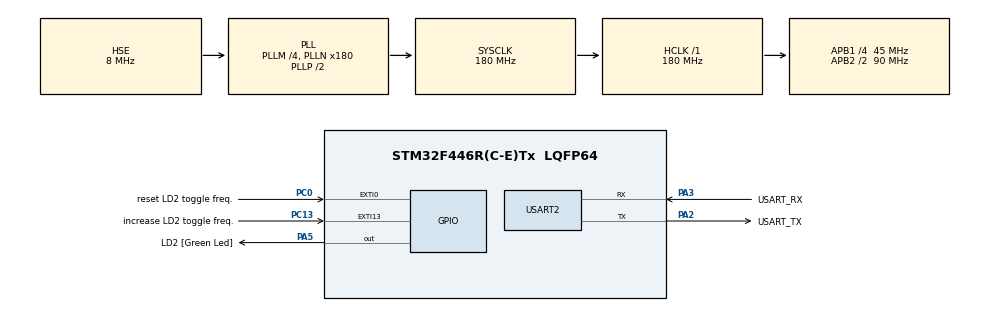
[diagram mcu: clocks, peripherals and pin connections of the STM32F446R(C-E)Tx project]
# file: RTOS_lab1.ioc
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FREERTOS.INCLUDE_vTaskDelayUntil=1
FREERTOS.Tasks01=defaultTask,0,128,StartDefaultTask,Default,NULL,Dynamic,NULL,NULL
FREERTOS.configENABLE_FPU=1
FREERTOS.configUSE_NEWLIB_REENTRANT=1
Mcu.Family=STM32F4
Mcu.Name=STM32F446R(C-E)Tx
Mcu.Package=LQFP64
NVIC.EXTI0_IRQn=true\:5\:0\:false\:false\:true\:true\:true\:true\:true
NVIC.EXTI15_10_IRQn=true\:5\:0\:false\:false\:true\:true\:true\:true\:true
NVIC.PriorityGroup=NVIC_PRIORITYGROUP_4
NVIC.TIM1_UP_TIM10_IRQn=true\:15\:0\:false\:false\:true\:false\:false\:true\:true
NVIC.TimeBase=TIM1_UP_TIM10_IRQn
NVIC.TimeBaseIP=TIM10
PA13.GPIO_Label=TMS
PA13.Mode=Serial_Wire
PA13.Signal=SYS_JTMS-SWDIO
PA14.GPIO_Label=TCK
PA14.Mode=Serial_Wire
PA14.Signal=SYS_JTCK-SWCLK
PA2.GPIO_Label=USART_TX
PA2.Mode=Asynchronous
PA2.Signal=USART2_TX
PA3.GPIO_Label=USART_RX
PA3.Mode=Asynchronous
PA3.Signal=USART2_RX
PA5.GPIO_Label=LD2 [Green Led]
PA5.Signal=GPIO_Output
PB3.GPIO_Label=SWO
PB3.Signal=SYS_JTDO-SWO
PC0.GPIO_Label=reset LD2 toggle freq.
PC0.GPIO_ModeDefaultEXTI=GPIO_MODE_IT_FALLING
PC0.GPIO_PuPd=GPIO_PULLUP
PC0.Signal=GPXTI0
PC13.GPIO_Label=increase LD2 toggle freq.
PC13.Signal=GPXTI13
PC14-OSC32_IN.Mode=LSE-External-Oscillator
PC14-OSC32_IN.Signal=RCC_OSC32_IN
PC15-OSC32_OUT.Mode=LSE-External-Oscillator
PC15-OSC32_OUT.Signal=RCC_OSC32_OUT
PH0-OSC_IN.Mode=HSE-External-Oscillator
PH0-OSC_IN.Signal=RCC_OSC_IN
PH1-OSC_OUT.Mode=HSE-External-Oscillator
PH1-OSC_OUT.Signal=RCC_OSC_OUT
ProjectManager.HeapSize=0x200
ProjectManager.StackSize=0x400
ProjectManager.TargetToolchain=STM32CubeIDE
RCC.48MHZClocksFreq_Value=84000000
RCC.AHBFreq_Value=180000000
RCC.APB1CLKDivider=RCC_HCLK_DIV4
RCC.APB1Freq_Value=45000000
RCC.APB1TimFreq_Value=90000000
RCC.APB2CLKDivider=RCC_HCLK_DIV2
RCC.APB2Freq_Value=90000000
RCC.APB2TimFreq_Value=180000000
RCC.CortexFreq_Value=180000000
RCC.FLatency-AdvancedSettings=FLASH_LATENCY_5
RCC.HCLKFreq_Value=180000000
RCC.HSE_VALUE=8000000
RCC.HSI_VALUE=16000000
RCC.PLLM=4
RCC.PLLN=180
RCC.PLLSourceVirtual=RCC_PLLSOURCE_HSE
RCC.SYSCLKFreq_VALUE=180000000
RCC.SYSCLKSource=RCC_SYSCLKSOURCE_PLLCLK
RCC.USBFreq_Value=180000000
RCC.VCOOutputFreq_Value=360000000
USART2.VirtualMode=VM_ASYNC
VP_FREERTOS_VS_CMSIS_V1.Mode=CMSIS_V1
VP_SYS_VS_tim10.Mode=TIM10
board=NUCLEO-F446RE

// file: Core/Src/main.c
/* USER CODE BEGIN Header */
/**
  ******************************************************************************
  * @file           : main.c
  * @brief          : Main program body
  ******************************************************************************
  * @attention
  *
  * Copyright (c) 2023 STMicroelectronics.
  * All rights reserved.
  *
  * This software is licensed under terms that can be found in the LICENSE file
  * in the root directory of this software component.
  * If no LICENSE file comes with this software, it is provided AS-IS.
  *
  ******************************************************************************
  */
/* USER CODE END Header */
#include "main.h"
#include "cmsis_os.h"
#include "usart.h"
#include "gpio.h"

/* USER CODE BEGIN PV */
volatile bool button_pressed=false;
volatile bool pin_shortcutted=false;
/* USER CODE END PV */

void SystemClock_Config(void);
void MX_FREERTOS_Init(void);

int main(void)
{

  /* MCU Configuration--------------------------------------------------------*/

  /* Reset of all peripherals, Initializes the Flash interface and the Systick. */
  HAL_Init();

  /* Configure the system clock */
  SystemClock_Config();

  /* Initialize all configured peripherals */
  MX_GPIO_Init();
  MX_USART2_UART_Init();

  /* Call init function for freertos objects (in freertos.c) */
  MX_FREERTOS_Init();

  /* Start scheduler */
  osKernelStart();

  /* We should never get here as control is now taken by the scheduler */
  /* Infinite loop */
  while (1)
  {

  }
}

void SystemClock_Config(void)
{
  RCC_OscInitTypeDef RCC_OscInitStruct = {0};
  RCC_ClkInitTypeDef RCC_ClkInitStruct = {0};

  /** Configure the main internal regulator output voltage
  */
  __HAL_RCC_PWR_CLK_ENABLE();
  __HAL_PWR_VOLTAGESCALING_CONFIG(PWR_REGULATOR_VOLTAGE_SCALE1);

  /** Initializes the RCC Oscillators according to the specified parameters
  * in the RCC_OscInitTypeDef structure.
  */
  RCC_OscInitStruct.OscillatorType = RCC_OSCILLATORTYPE_HSE;
  RCC_OscInitStruct.HSEState = RCC_HSE_ON;
  RCC_OscInitStruct.PLL.PLLState = RCC_PLL_ON;
  RCC_OscInitStruct.PLL.PLLSource = RCC_PLLSOURCE_HSE;
  RCC_OscInitStruct.PLL.PLLM = 4;
  RCC_OscInitStruct.PLL.PLLN = 180;
  RCC_OscInitStruct.PLL.PLLP = RCC_PLLP_DIV2;
  RCC_OscInitStruct.PLL.PLLQ = 2;
  RCC_OscInitStruct.PLL.PLLR = 2;
  if (HAL_RCC_OscConfig(&RCC_OscInitStruct) != HAL_OK)
  {
    Error_Handler();
  }

  /** Activate the Over-Drive mode
  */
  if (HAL_PWREx_EnableOverDrive() != HAL_OK)
  {
    Error_Handler();
  }

  /** Initializes the CPU, AHB and APB buses clocks
  */
  RCC_ClkInitStruct.ClockType = RCC_CLOCKTYPE_HCLK|RCC_CLOCKTYPE_SYSCLK
                              |RCC_CLOCKTYPE_PCLK1|RCC_CLOCKTYPE_PCLK2;
  RCC_ClkInitStruct.SYSCLKSource = RCC_SYSCLKSOURCE_PLLCLK;
  RCC_ClkInitStruct.AHBCLKDivider = RCC_SYSCLK_DIV1;
  RCC_ClkInitStruct.APB1CLKDivider = RCC_HCLK_DIV4;
  RCC_ClkInitStruct.APB2CLKDivider = RCC_HCLK_DIV2;

  if (HAL_RCC_ClockConfig(&RCC_ClkInitStruct, FLASH_LATENCY_5) != HAL_OK)
  {
    Error_Handler();
  }
}

void HAL_TIM_PeriodElapsedCallback(TIM_HandleTypeDef *htim)
{
  if (htim->Instance == TIM10) {
    HAL_IncTick();
  }
}

void Error_Handler(void)
{
  __disable_irq();
  while (1)
  {
  }
}

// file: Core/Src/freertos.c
/* USER CODE BEGIN Header */
/**
  ******************************************************************************
  * File Name          : freertos.c
  * Description        : Code for freertos applications
  ******************************************************************************
  * @attention
  *
  * Copyright (c) 2023 STMicroelectronics.
  * All rights reserved.
  *
  * This software is licensed under terms that can be found in the LICENSE file
  * in the root directory of this software component.
  * If no LICENSE file comes with this software, it is provided AS-IS.
  *
  ******************************************************************************
  */
/* USER CODE END Header */

#include "FreeRTOS.h"
#include "task.h"
#include "main.h"
#include "cmsis_os.h"

/* USER CODE BEGIN Variables */

osThreadId defaultTaskHandle;
osThreadId led_blink_varHandle;
osThreadId led_blink_equalHandle;
osThreadId button_pressedHandle;
osThreadId pin_shortcuttedHandle;

int frequency=1;	//Hz
/* USER CODE END Variables */
osThreadId defaultTaskHandle;

/* USER CODE BEGIN FunctionPrototypes */

void StartDefaultTask(void const * argument);
void StartTask0(void const * argument);
void StartTask1(void const * argument);
void StartTask2(void const * argument);
void StartTask3(void const * argument);

/* USER CODE END FunctionPrototypes */

void StartDefaultTask(void const * argument);

void MX_FREERTOS_Init(void); /* (MISRA C 2004 rule 8.1) */

/* GetIdleTaskMemory prototype (linked to static allocation support) */
void vApplicationGetIdleTaskMemory( StaticTask_t **ppxIdleTaskTCBBuffer, StackType_t **ppxIdleTaskStackBuffer, uint32_t *pulIdleTaskStackSize );

/* USER CODE BEGIN GET_IDLE_TASK_MEMORY */
static StaticTask_t xIdleTaskTCBBuffer;
static StackType_t xIdleStack[configMINIMAL_STACK_SIZE];

void vApplicationGetIdleTaskMemory( StaticTask_t **ppxIdleTaskTCBBuffer, StackType_t **ppxIdleTaskStackBuffer, uint32_t *pulIdleTaskStackSize )
{
  *ppxIdleTaskTCBBuffer = &xIdleTaskTCBBuffer;
  *ppxIdleTaskStackBuffer = &xIdleStack[0];
  *pulIdleTaskStackSize = configMINIMAL_STACK_SIZE;
  /* place for user code */
}
/* USER CODE END GET_IDLE_TASK_MEMORY */

void MX_FREERTOS_Init(void) {

  /* Create the thread(s) */
  /* definition and creation of defaultTask */
  osThreadDef(defaultTask, StartDefaultTask, osPriorityNormal, 0, 128);
  defaultTaskHandle = osThreadCreate(osThread(defaultTask), NULL);

  /* USER CODE BEGIN RTOS_THREADS */
	// uncoment tasks for right application

	//app 1-Prepare a simple FreeRTOS application, capable of blinking led light with a frequency equal to 10Hz

	//osThreadDef(led_blink_equal, StartTask0, osPriorityIdle, 0, 128);
	//led_blink_equalHandle = osThreadCreate(osThread(led_blink_equal), NULL);

	//app 2-Prepare an application that has 2 tasks running in parallel

	//task1
	osThreadDef(led_blink_var, StartTask1, osPriorityIdle, 0, 128);
	led_blink_varHandle = osThreadCreate(osThread(led_blink_var), NULL);
	//task2
	osThreadDef(button_pressed, StartTask2, osPriorityIdle, 0, 128);
	button_pressedHandle = osThreadCreate(osThread(button_pressed), NULL);
	//task3
	osThreadDef(pin_shortcutted, StartTask3, osPriorityIdle, 0, 128);
	pin_shortcuttedHandle = osThreadCreate(osThread(pin_shortcutted), NULL);
  /* USER CODE END RTOS_THREADS */

}

void StartDefaultTask(void const * argument)
{
  for(;;)
  {
	  osDelay(1);
  }
}

/* USER CODE BEGIN Application */
void StartTask0(void const * argument)
{
  /* USER CODE BEGIN StartTask0 */
	//Prepare a simple FreeRTOS application, capable of blinking led light with a frequency equal to 10Hz
  /* Infinite loop */
  for(;;)
  {
	  HAL_GPIO_TogglePin(GPIOA,LD2_Pin);
	  osDelay(100);	//100ms-> 0.1 s -> 10Hz
  }
  /* USER CODE END StartTask0 */
}

void StartTask1(void const * argument)
{
  /* USER CODE BEGIN StartTask1 */
	//blinks a LED with the frequency defined as a modifiable parameter with some initial value e.g. 10,
	// frequency in HZ
  /* Infinite loop */
  for(;;)
  {
		HAL_GPIO_TogglePin(GPIOA,LD2_Pin);
	    osDelay(1000/frequency);	//100ms-> 0.1 s -> 10Hz
  }
  /* USER CODE END StartTask1 */
}
void StartTask2(void const * argument)
{
  /* USER CODE BEGIN StartTask2 */
	//runs periodically every 1s for checking whether the button has ever been pressed (no matter what amount of times).
	//When the press was detected, the modifiable parameter shall be increased with an additional chosen value
  /* Infinite loop */
	const int inc_value=1; // Hz
  for(;;)
  {
	  if(button_pressed==true)
	  {
		  frequency+=inc_value;
		  button_pressed=false;
	  }
	  osDelay(1000);
  }

  /* USER CODE END StartTask2 */
}

void StartTask3(void const * argument)
{
  /* USER CODE BEGIN StartTask3 */
  /* Infinite loop */
	//pin_shortcutted=false;
  for(;;)
  {
	  if(pin_shortcutted==true)
	  {
		  frequency=1;
		  pin_shortcutted=false;
	  }
	  osDelay(100);
  }
  /* USER CODE END StartTask3 */
}

/* USER CODE END Application */
